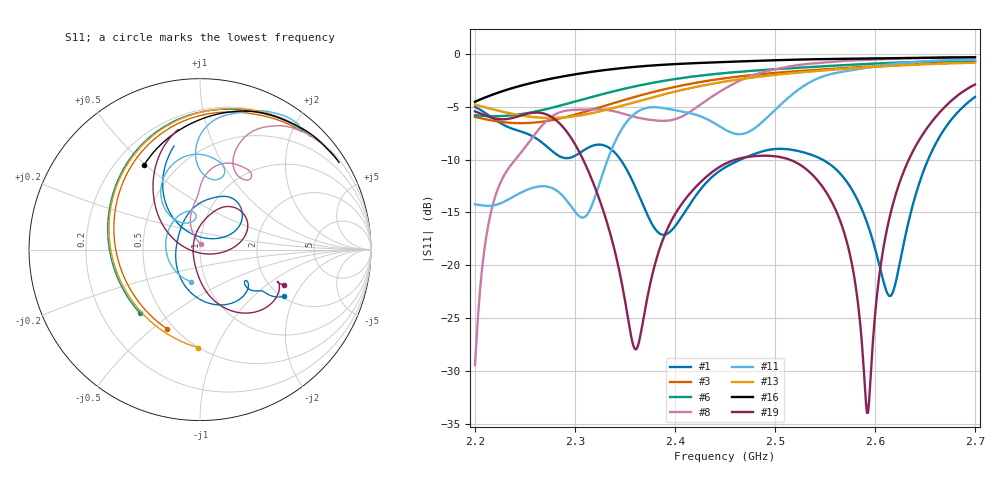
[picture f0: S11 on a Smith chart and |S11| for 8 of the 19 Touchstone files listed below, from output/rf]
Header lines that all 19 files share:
! PRELIMINARY bare PCB unless shell_eps > 0; see README.md
# Hz S RI R 50
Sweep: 2.2 GHz to 2.7 GHz
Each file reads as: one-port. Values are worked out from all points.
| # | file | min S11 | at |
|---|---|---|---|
| 1 | eps40.s1p | -22.9 dB | 2.615 GHz |
| 2 | gerber-bare.s1p | -6.3 dB | 2.2 GHz |
| 3 | gerber-dk43.s1p | -6.6 dB | 2.246 GHz |
| 4 | gerber-fine.s1p | -6.5 dB | 2.218 GHz |
| 5 | gerber-finer.s1p | -6.5 dB | 2.218 GHz |
| 6 | gerber-low-loss.s1p | -5.9 dB | 2.219 GHz |
| 7 | housed-16.s1p | -4.6 dB | 2.2 GHz |
| 8 | housed.s1p | -29.4 dB | 2.2 GHz |
| 9 | hy8101-bare.s1p | -6.7 dB | 2.246 GHz |
| 10 | hy8101-housed.s1p | -4.0 dB | 2.2 GHz |
| 11 | nominal-16.s1p | -15.5 dB | 2.308 GHz |
| 12 | nominal.s1p | -25.9 dB | 2.566 GHz |
| 13 | np140f-bare.s1p | -6.1 dB | 2.276 GHz |
| 14 | np140f-housed.s1p | -4.6 dB | 2.2 GHz |
| 15 | ny2140-rc55-bare.s1p | -6.4 dB | 2.268 GHz |
| 16 | ny2140-rc55-housed.s1p | -4.5 dB | 2.2 GHz |
| 17 | ny2140-rc70-bare.s1p | -6.7 dB | 2.337 GHz |
| 18 | ny2140-rc70-housed.s1p | -8.1 dB | 2.2 GHz |
| 19 | refined.s1p | -33.9 dB | 2.592 GHz |
